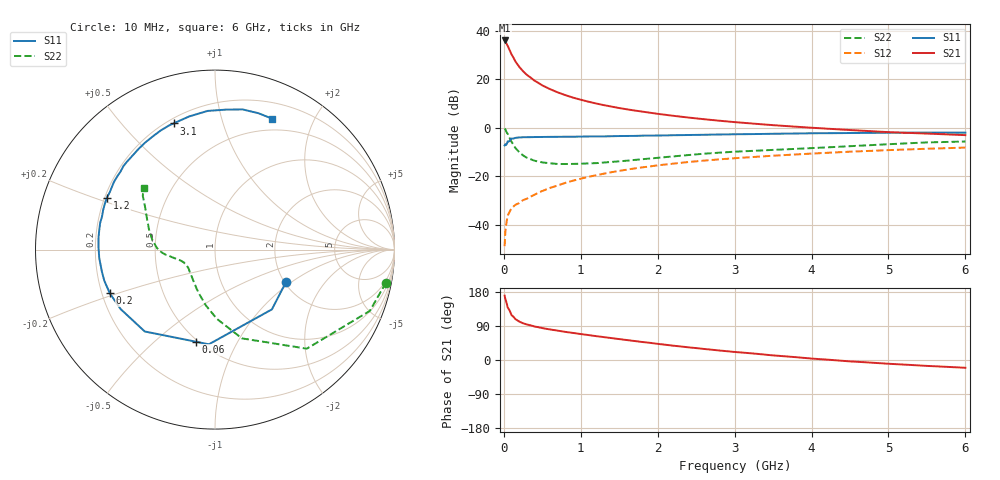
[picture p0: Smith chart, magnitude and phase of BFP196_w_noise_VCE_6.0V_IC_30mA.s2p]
! Infineon Technologies  Discrete & RF Semiconductors
! BFP196
! VCE =  6.0 V,  IC =  30 mA
! Common Emitter S-Parameters:  Jan 2017
# GHz  S  MA  R  50
!  f  S11  S21  S12  S22
! GHz  MAG  ANG  MAG  ANG  MAG  ANG  MAG  ANG
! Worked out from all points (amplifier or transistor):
!   77 points, 10 MHz to 6 GHz, reference 50 ohm
!   highest |S21| = 35.9 dB at 10 MHz (marker M1)
!   |S21| within 3 dB of that: start of sweep to 61.63 MHz
!   unconditionally stable (mu >= 1): 664.6 MHz to 2.368 GHz
!   at 130 MHz: K = 0.48, MSG = 30.4 dB, |S12| = -32.2 dB
!   at 2.2 GHz: K = 1.01, MAG = 9.2 dB, |S12| = -14.7 dB
!   at 6 GHz: K = 0.93, MSG = 2.6 dB, |S12| = -8.1 dB
!   lowest NFmin = 1.22 dB at 450 MHz
!   S11 on the Smith chart (normalised r, x): 10 MHz: 2.04, -0.91; 60 MHz: 0.49, -0.69; 200 MHz: 0.23, -0.19; 1.2 GHz: 0.21, +0.22; 3.1 GHz: 0.23, +0.70; 6 GHz: 0.37, +1.46
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0.01  0.435 -24.4  62.45 169.9  0.0037 80.9  0.9703 -10.9
0.02  0.4598 -46.4  60.73 160.7  0.0075 77.9  0.9279 -21.6
0.05  0.5287 -93.7  48.35 138.5  0.0156 59.0  0.7524 -47.2
0.06  0.5241 -101.6  44.79 135.6  0.0169 56.8  0.6964 -50.9
0.1  0.601 -130.6  32.26 118.2  0.0221 50.5  0.5169 -73.1
0.15  0.6216 -147.8  23.19 108.0  0.0261 48.6  0.3863 -88.4
0.2  0.6345 -157.4  17.94 101.5  0.0285 49.8  0.3152 -99.3
0.25  0.6407 -164.3  14.54 96.9  0.0328 51.5  0.271 -107.5
0.3  0.642 -169.0  12.23 93.7  0.035 53.1  0.2424 -114.7
0.4  0.6467 -175.9  9.285 88.3  0.0424 57.2  0.2107 -125.1
0.5  0.6492 178.7  7.451 84.2  0.0504 59.0  0.1947 -133.0
0.6  0.6523 174.2  6.243 80.6  0.0582 60.4  0.1869 -139.3
0.7  0.6539 170.6  5.357 77.5  0.0654 61.9  0.1809 -144.1
0.9  0.6559 163.6  4.177 71.4  0.0822 62.0  0.1815 -150.9
1.1  0.6648 157.4  3.445 65.8  0.0986 61.2  0.1858 -155.9
1.2  0.6682 154.3  3.164 63.0  0.106 60.6  0.1882 -158.0
1.6  0.6805 143.1  2.402 52.6  0.1386 57.1  0.2112 -164.5
2.1  0.699 129.8  1.853 40.3  0.1764 51.4  0.2502 -171.1
3.1  0.7399 108.2  1.273 19.6  0.2432 39.0  0.3287 177.0
4.1  0.7744 91.5  0.983 2.4  0.301 27.3  0.3897 161.6
5.1  0.7955 77.6  0.805 -11.0  0.3527 15.8  0.4686 147.0
6  0.7959 66.4  0.708 -20.5  0.3926 5.7  0.5237 139.2
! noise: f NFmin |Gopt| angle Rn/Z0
0.45  1.22  0.34  169  0.05
0.9  1.38  0.45  -172  0.06
1.9  2.24  0.68  -135  0.25
2.4  2.64  0.71  -121  0.6
